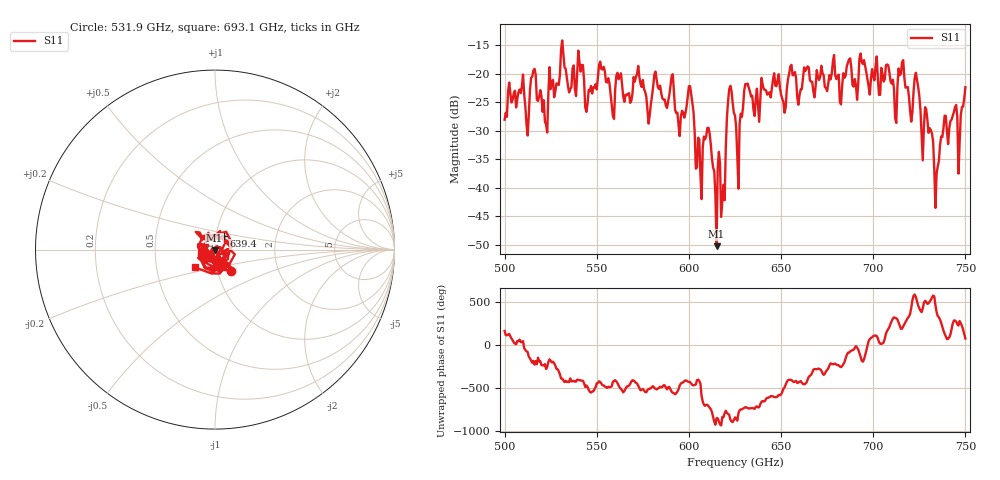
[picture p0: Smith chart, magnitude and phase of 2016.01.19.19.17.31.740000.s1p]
!Created with skrf (http://scikit-rf.org).
# GHz S RI R 50.0
!freq ReS11 ImS11
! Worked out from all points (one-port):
!   401 points, 500 GHz to 750 GHz, reference 50 ohm
!   lowest |S11| = -50.2 dB at 615 GHz (marker M1), VSWR 1.01, Z = 49.8 - j0.223 ohm
!   |S11| at or under -10 dB: start of sweep to end of sweep
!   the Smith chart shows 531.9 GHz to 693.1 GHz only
!   S11 on the Smith chart (normalised r, x): 531.9 GHz: 1.15, -0.28; 639.4 GHz: 1.09, +0.17; 693.1 GHz: 0.78, -0.16
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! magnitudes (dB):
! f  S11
! 500 GHz  -28.1
! 512.5 GHz  -30.8
! 515.6 GHz  -19.4
! 521.9 GHz  -28.4
! 531.2 GHz  -14.2
! 531.9 GHz  -16.6
! 545 GHz  -25.2
! 562.5 GHz  -20.5
! 578.1 GHz  -28.7
! 590.6 GHz  -20.4
! 593.8 GHz  -26.8
! 600.6 GHz  -22.2
! 605.6 GHz  -31.5
! 610.6 GHz  -29.5
! 615 GHz  -50.2
! 618.8 GHz  -39.5
! 621.9 GHz  -22.7
! 625 GHz  -27.3
! 639.4 GHz  -20.7
! 656.2 GHz  -20.3
! 687.5 GHz  -17.3
! 693.1 GHz  -16.5
! 718.8 GHz  -22.3
! 723.8 GHz  -21.1
! 734.4 GHz  -37.5
! 738.1 GHz  -29.4
! 746.9 GHz  -32.1
! 750 GHz  -22.4
